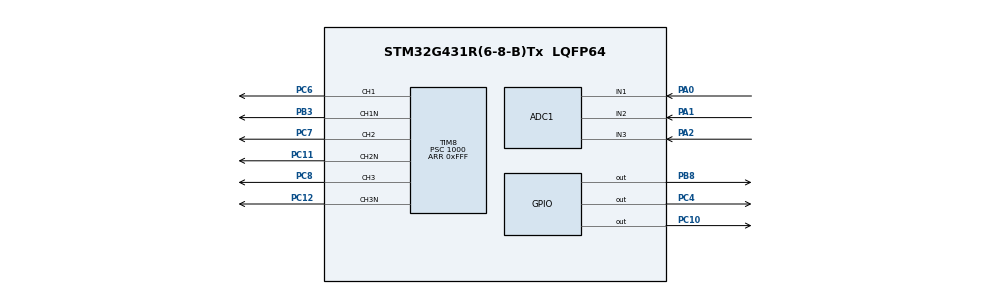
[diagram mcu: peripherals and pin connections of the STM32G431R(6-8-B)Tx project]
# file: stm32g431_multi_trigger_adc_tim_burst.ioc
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ADC1.Channel-0\#ChannelRegularConversion=ADC_CHANNEL_1
ADC1.Channel-1\#ChannelRegularConversion=ADC_CHANNEL_2
ADC1.Channel-2\#ChannelRegularConversion=ADC_CHANNEL_3
ADC1.DMAContinuousRequests=ENABLE
ADC1.EOCSelection=ADC_EOC_SINGLE_CONV
ADC1.ExternalTrigConv=ADC_EXTERNALTRIG_T8_TRGO2
ADC1.NbrOfConversion=3
ADC1.NbrOfConversionFlag=1
ADC1.OffsetNumber-0\#ChannelRegularConversion=ADC_OFFSET_NONE
ADC1.OffsetNumber-1\#ChannelRegularConversion=ADC_OFFSET_NONE
ADC1.OffsetNumber-2\#ChannelRegularConversion=ADC_OFFSET_NONE
ADC1.Rank-0\#ChannelRegularConversion=1
ADC1.Rank-1\#ChannelRegularConversion=2
ADC1.Rank-2\#ChannelRegularConversion=3
ADC1.SamplingTime-0\#ChannelRegularConversion=ADC_SAMPLETIME_2CYCLES_5
ADC1.SamplingTime-1\#ChannelRegularConversion=ADC_SAMPLETIME_2CYCLES_5
ADC1.SamplingTime-2\#ChannelRegularConversion=ADC_SAMPLETIME_2CYCLES_5
ADC1.master=1
Dma.ADC1.0.Direction=DMA_PERIPH_TO_MEMORY
Dma.ADC1.0.EventEnable=DISABLE
Dma.ADC1.0.Instance=DMA1_Channel2
Dma.ADC1.0.MemDataAlignment=DMA_MDATAALIGN_HALFWORD
Dma.ADC1.0.MemInc=DMA_MINC_ENABLE
Dma.ADC1.0.Mode=DMA_CIRCULAR
Dma.ADC1.0.PeriphDataAlignment=DMA_PDATAALIGN_HALFWORD
Dma.ADC1.0.PeriphInc=DMA_PINC_DISABLE
Dma.ADC1.0.Polarity=HAL_DMAMUX_REQ_GEN_RISING
Dma.ADC1.0.Priority=DMA_PRIORITY_LOW
Dma.ADC1.0.RequestNumber=1
Dma.ADC1.0.SignalID=NONE
Dma.ADC1.0.SyncEnable=DISABLE
Dma.ADC1.0.SyncPolarity=HAL_DMAMUX_SYNC_NO_EVENT
Dma.ADC1.0.SyncRequestNumber=1
Dma.ADC1.0.SyncSignalID=NONE
Dma.Request0=ADC1
Dma.Request1=TIM8_UP
Dma.TIM8_UP.1.Direction=DMA_MEMORY_TO_PERIPH
Dma.TIM8_UP.1.EventEnable=DISABLE
Dma.TIM8_UP.1.Instance=DMA1_Channel1
Dma.TIM8_UP.1.MemDataAlignment=DMA_MDATAALIGN_WORD
Dma.TIM8_UP.1.MemInc=DMA_MINC_ENABLE
Dma.TIM8_UP.1.Mode=DMA_CIRCULAR
Dma.TIM8_UP.1.PeriphDataAlignment=DMA_PDATAALIGN_WORD
Dma.TIM8_UP.1.PeriphInc=DMA_PINC_DISABLE
Dma.TIM8_UP.1.Polarity=HAL_DMAMUX_REQ_GEN_RISING
Dma.TIM8_UP.1.Priority=DMA_PRIORITY_HIGH
Dma.TIM8_UP.1.RequestNumber=1
Dma.TIM8_UP.1.SignalID=NONE
Dma.TIM8_UP.1.SyncEnable=DISABLE
Dma.TIM8_UP.1.SyncPolarity=HAL_DMAMUX_SYNC_NO_EVENT
Dma.TIM8_UP.1.SyncRequestNumber=1
Dma.TIM8_UP.1.SyncSignalID=NONE
Mcu.Family=STM32G4
Mcu.Name=STM32G431R(6-8-B)Tx
Mcu.Package=LQFP64
NVIC.DMA1_Channel1_IRQn=true\:1\:0\:true\:false\:true\:false\:true
NVIC.DMA1_Channel2_IRQn=true\:1\:0\:true\:false\:true\:false\:true
NVIC.PriorityGroup=NVIC_PRIORITYGROUP_4
NVIC.TIM8_UP_IRQn=true\:2\:0\:true\:false\:true\:true\:true
PA0.Mode=IN1-Single-Ended
PA0.Signal=ADC1_IN1
PA1.Mode=IN2-Single-Ended
PA1.Signal=ADC1_IN2
PA2.Mode=IN3-Single-Ended
PA2.Signal=ADC1_IN3
PB3.Mode=PWM Generation1 CH1 CH1N
PB3.Signal=TIM8_CH1N
PB8-BOOT0.Signal=GPIO_Output
PC10.Signal=GPIO_Output
PC11.Mode=PWM Generation2 CH2 CH2N
PC11.Signal=TIM8_CH2N
PC12.Mode=PWM Generation3 CH3 CH3N
PC12.Signal=TIM8_CH3N
PC3.Signal=TIM1_BKIN2
PC4.Signal=GPIO_Output
PC6.Signal=S_TIM8_CH1
PC7.Signal=S_TIM8_CH2
PC8.Signal=S_TIM8_CH3
PF0-OSC_IN.Mode=HSE-External-Oscillator
PF0-OSC_IN.Signal=RCC_OSC_IN
PF1-OSC_OUT.Mode=HSE-External-Oscillator
PF1-OSC_OUT.Signal=RCC_OSC_OUT
ProjectManager.HeapSize=0x200
ProjectManager.StackSize=0x400
ProjectManager.TargetToolchain=MDK-ARM V5
RCC.ADC12CLockSelection=RCC_ADC12CLKSOURCE_PLL
RCC.ADC12Freq_Value=48571428.571428575
RCC.AHBFreq_Value=170000000
RCC.APB1Freq_Value=170000000
RCC.APB1TimFreq_Value=170000000
RCC.APB2Freq_Value=170000000
RCC.APB2TimFreq_Value=170000000
RCC.CortexFreq_Value=170000000
RCC.EXTERNAL_CLOCK_VALUE=12288000
RCC.HCLKFreq_Value=170000000
RCC.HSE_VALUE=8000000
RCC.HSI48_VALUE=48000000
RCC.HSI_VALUE=16000000
RCC.LSE_VALUE=32768
RCC.PLLM=RCC_PLLM_DIV4
RCC.PLLN=85
RCC.PLLP=RCC_PLLP_DIV7
RCC.SYSCLKFreq_VALUE=170000000
RCC.SYSCLKSource=RCC_SYSCLKSOURCE_PLLCLK
RCC.USBFreq_Value=170000000
RCC.VCOOutputFreq_Value=340000000
SH.S_TIM8_CH1.0=TIM8_CH1,PWM Generation1 CH1 CH1N
SH.S_TIM8_CH2.0=TIM8_CH2,PWM Generation2 CH2 CH2N
SH.S_TIM8_CH3.0=TIM8_CH3,PWM Generation3 CH3 CH3N
TIM8.Channel-PWM\ Generation1\ CH1\ CH1N=TIM_CHANNEL_1
TIM8.Channel-PWM\ Generation2\ CH2\ CH2N=TIM_CHANNEL_2
TIM8.Channel-PWM\ Generation3\ CH3\ CH3N=TIM_CHANNEL_3
TIM8.Channel-PWM\ Generation4\ No\ Output=TIM_CHANNEL_4
TIM8.Channel-PWM\ Generation5\ No\ Output=TIM_CHANNEL_5
TIM8.Channel-PWM\ Generation6\ No\ Output=TIM_CHANNEL_6
TIM8.CounterMode=TIM_COUNTERMODE_CENTERALIGNED1
TIM8.OC1Preload_PWM=DISABLE
TIM8.OC2Preload_PWM=DISABLE
TIM8.OC3Preload_PWM=DISABLE
TIM8.OC4Preload_PWM=DISABLE
TIM8.OC5Preload_PWM=DISABLE
TIM8.OC6Preload_PWM=DISABLE
TIM8.OCMode_PWM-PWM\ Generation4\ No\ Output=TIM_OCMODE_PWM2
TIM8.OCMode_PWM-PWM\ Generation6\ No\ Output=TIM_OCMODE_PWM2
TIM8.PeriodNoDither=0xFFF
TIM8.Prescaler=1000
TIM8.PulseNoDither_1=250
TIM8.PulseNoDither_2=500
TIM8.PulseNoDither_3=750
TIM8.PulseNoDither_4=500
TIM8.PulseNoDither_5=500
TIM8.PulseNoDither_6=750
TIM8.TIM_MasterOutputTrigger2=TIM_TRGO2_UPDATE
VP_SYS_VS_DBSignals.Mode=DisableDeadBatterySignals
VP_TIM8_VS_ClockSourceINT.Mode=Internal
VP_TIM8_VS_no_output4.Mode=PWM Generation4 No Output
VP_TIM8_VS_no_output5.Mode=PWM Generation5 No Output
VP_TIM8_VS_no_output6.Mode=PWM Generation6 No Output
board=custom

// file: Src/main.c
/* USER CODE BEGIN Header */
/**
  ******************************************************************************
  * @file           : main.c
  * @brief          : Main program body
  ******************************************************************************
  * @attention
  *
  * <h2><center>&copy; Copyright (c) 2020 STMicroelectronics.
  * All rights reserved.</center></h2>
  *
  * This software component is licensed by ST under BSD 3-Clause license,
  * the "License"; You may not use this file except in compliance with the
  * License. You may obtain a copy of the License at:
  *                        opensource.org/licenses/BSD-3-Clause
  *
  ******************************************************************************
  */
/* USER CODE END Header */

#include "main.h"
#include "adc.h"
#include "dma.h"
#include "tim.h"
#include "gpio.h"

void SystemClock_Config(void);
/* USER CODE BEGIN PFP */
void Initialize_ADC(void);
void Initialize_DMA_ADC(void);
void Initialize_TIM8(void);
void Initialize_DMA_TIM8(void);
/* USER CODE END PFP */

/* USER CODE BEGIN 0 */
__IO uint16_t aADCxConvertedData[ADC_CONVERTED_DATA_BUFFER_SIZE];             /* ADC group regular conversion data */
__IO uint16_t aADCxConvertedDataB[ADC_CONVERTED_DATA_BUFFER_SIZE];             /* ADC group regular conversion data */

uint32_t tim_burst[TIM_BURST_COUNT]={0x100, 0x200, 0x300, 0x300, 0x200, 0x100};
uint32_t tim_burst_update[TIM_BURST_COUNT]={0x110, 0x210, 0x310, 0x320, 0x220, 0x120};
/* USER CODE END 0 */

int main(void)
{

  /* MCU Configuration--------------------------------------------------------*/

  /* Reset of all peripherals, Initializes the Flash interface and the Systick. */

  LL_APB2_GRP1_EnableClock(LL_APB2_GRP1_PERIPH_SYSCFG);
  LL_APB1_GRP1_EnableClock(LL_APB1_GRP1_PERIPH_PWR);

  NVIC_SetPriorityGrouping(NVIC_PRIORITYGROUP_4);

  /* System interrupt init*/

  /** Disable the internal Pull-Up in Dead Battery pins of UCPD peripheral
  */
  LL_PWR_DisableDeadBatteryPD();

  /* Configure the system clock */
  SystemClock_Config();

  /* Initialize all configured peripherals */
  MX_GPIO_Init();
  MX_DMA_Init();
  MX_ADC1_Init();
  MX_TIM8_Init();
  /* USER CODE BEGIN 2 */
	LL_DBGMCU_APB2_GRP1_UnFreezePeriph(LL_DBGMCU_APB2_GRP1_TIM8_STOP);

	Initialize_DMA_ADC();
	Initialize_ADC();
	Initialize_DMA_TIM8();
	Initialize_TIM8();
  /* USER CODE END 2 */

  /* Infinite loop */
  while (1)
  {

  }
}

void SystemClock_Config(void)
{
  LL_FLASH_SetLatency(LL_FLASH_LATENCY_8);
  LL_PWR_EnableRange1BoostMode();
  LL_RCC_HSI_Enable();

   /* Wait till HSI is ready */
  while(LL_RCC_HSI_IsReady() != 1)
  {

  }
  LL_RCC_HSI_SetCalibTrimming(64);
  LL_RCC_PLL_ConfigDomain_SYS(LL_RCC_PLLSOURCE_HSI, LL_RCC_PLLM_DIV_4, 85, LL_RCC_PLLR_DIV_2);
  LL_RCC_PLL_ConfigDomain_ADC(LL_RCC_PLLSOURCE_HSI, LL_RCC_PLLM_DIV_4, 85, LL_RCC_PLLP_DIV_7);
  LL_RCC_PLL_EnableDomain_SYS();
  LL_RCC_PLL_EnableDomain_ADC();
  LL_RCC_PLL_Enable();

   /* Wait till PLL is ready */
  while(LL_RCC_PLL_IsReady() != 1)
  {

  }
  LL_RCC_SetSysClkSource(LL_RCC_SYS_CLKSOURCE_PLL);
  LL_RCC_SetAHBPrescaler(LL_RCC_SYSCLK_DIV_2);

   /* Wait till System clock is ready */
  while(LL_RCC_GetSysClkSource() != LL_RCC_SYS_CLKSOURCE_STATUS_PLL)
  {

  }
  /* Insure 1?s transition state at intermediate medium speed clock based on DWT */
  CoreDebug->DEMCR |= CoreDebug_DEMCR_TRCENA_Msk;
  DWT->CTRL |= DWT_CTRL_CYCCNTENA_Msk;
  DWT->CYCCNT = 0;
  while(DWT->CYCCNT < 100);
  /* Set AHB prescaler*/
  LL_RCC_SetAHBPrescaler(LL_RCC_SYSCLK_DIV_1);
  LL_RCC_SetAPB1Prescaler(LL_RCC_APB1_DIV_1);
  LL_RCC_SetAPB2Prescaler(LL_RCC_APB1_DIV_1);

  LL_Init1msTick(170000000);

  LL_SetSystemCoreClock(170000000);
  LL_RCC_SetADCClockSource(LL_RCC_ADC12_CLKSOURCE_PLL);
}

/* USER CODE BEGIN 4 */
#define ADC_DELAY_CALIB_ENABLE_CPU_CYCLES  (LL_ADC_DELAY_CALIB_ENABLE_ADC_CYCLES * 32)
void Initialize_ADC(void)
{
  __IO uint32_t wait_loop_index = 0U;
  #if (USE_TIMEOUT == 1)
  uint32_t Timeout = 0U; /* Variable used for timeout management */
  #endif /* USE_TIMEOUT */

  /*## Operation on ADC hierarchical scope: ADC instance #####################*/

  /* Note: Hardware constraint (refer to description of the functions         */
  /*       below):                                                            */
  /*       On this STM32 serie, setting of these features is conditioned to   */
  /*       ADC state:                                                         */
  /*       ADC must be disabled.                                              */
  /* Note: In this example, all these checks are not necessary but are        */
  /*       implemented anyway to show the best practice usages                */
  /*       corresponding to reference manual procedure.                       */
  /*       Software can be optimized by removing some of these checks, if     */
  /*       they are not relevant considering previous settings and actions    */
  /*       in user application.                                               */
  if (LL_ADC_IsEnabled(ADC1) == 0)
  {
    /* Disable ADC deep power down (enabled by default after reset state) */
    LL_ADC_DisableDeepPowerDown(ADC1);

    /* Enable ADC internal voltage regulator */
    LL_ADC_EnableInternalRegulator(ADC1);

    /* Delay for ADC internal voltage regulator stabilization.                */
    /* Compute number of CPU cycles to wait for, from delay in us.            */
    /* Note: Variable divided by 2 to compensate partially                    */
    /*       CPU processing cycles (depends on compilation optimization).     */
    /* Note: If system core clock frequency is below 200kHz, wait time        */
    /*       is only a few CPU processing cycles.                             */
    wait_loop_index = ((LL_ADC_DELAY_INTERNAL_REGUL_STAB_US * (SystemCoreClock / (100000 * 2))) / 10);
    while(wait_loop_index != 0)
    {
      wait_loop_index--;
    }

    /* Run ADC self calibration */
    LL_ADC_StartCalibration(ADC1, LL_ADC_SINGLE_ENDED);

    /* Poll for ADC effectively calibrated */
    #if (USE_TIMEOUT == 1)
    Timeout = ADC_CALIBRATION_TIMEOUT_MS;
    #endif /* USE_TIMEOUT */

    while (LL_ADC_IsCalibrationOnGoing(ADC1) != 0)
    {
    #if (USE_TIMEOUT == 1)
      /* Check Systick counter flag to decrement the time-out value */
      if (LL_SYSTICK_IsActiveCounterFlag())
      {
        if(Timeout-- == 0)
        {
        /* Time-out occurred. Set LED to blinking mode */
        LED_Blinking(LED_BLINK_ERROR);
        }
      }
    #endif /* USE_TIMEOUT */
    }

    /* Delay between ADC end of calibration and ADC enable.                   */
    /* Note: Variable divided by 2 to compensate partially                    */
    /*       CPU processing cycles (depends on compilation optimization).     */
    wait_loop_index = (ADC_DELAY_CALIB_ENABLE_CPU_CYCLES >> 1);
    while(wait_loop_index != 0)
    {
      wait_loop_index--;
    }

    /* Enable ADC */
    LL_ADC_Enable(ADC1);

    /* Poll for ADC ready to convert */
    #if (USE_TIMEOUT == 1)
    Timeout = ADC_ENABLE_TIMEOUT_MS;
    #endif /* USE_TIMEOUT */

    while (LL_ADC_IsActiveFlag_ADRDY(ADC1) == 0)
    {
    #if (USE_TIMEOUT == 1)
      /* Check Systick counter flag to decrement the time-out value */
      if (LL_SYSTICK_IsActiveCounterFlag())
      {
        if(Timeout-- == 0)
        {
        /* Time-out occurred. Set LED to blinking mode */
        LED_Blinking(LED_BLINK_ERROR);
        }
      }
    #endif /* USE_TIMEOUT */
    }

    /* Note: ADC flag ADRDY is not cleared here to be able to check ADC       */
    /*       status afterwards.                                               */
    /*       This flag should be cleared at ADC Deactivation, before a new    */
    /*       ADC activation, using function "LL_ADC_ClearFlag_ADRDY()".       */
  }

  /*## Operation on ADC hierarchical scope: ADC group regular ################*/
  /* Note: No operation on ADC group regular performed here.                  */
  /*       ADC group regular conversions to be performed after this function  */
  /*       using function:                                                    */
  /*       "LL_ADC_REG_StartConversion();"                                    */

  /*## Operation on ADC hierarchical scope: ADC group injected ###############*/
  /* Note: No operation on ADC group injected performed here.                 */
  /*       ADC group injected conversions to be performed after this function */
  /*       using function:                                                    */
  /*       "LL_ADC_INJ_StartConversion();"                                    */

	if ((LL_ADC_IsEnabled(ADC1) == 1) &&(LL_ADC_IsDisableOngoing(ADC1) == 0)&&(LL_ADC_REG_IsConversionOngoing(ADC1) == 0))
  {
    LL_ADC_REG_StartConversion(ADC1);
	}
}

void Initialize_DMA_ADC(void)
{
  /* Select ADC as DMA transfer request */
  LL_DMA_SetPeriphRequest(DMA1,  LL_DMA_CHANNEL_2, LL_DMAMUX_REQ_ADC1);

  /* Set DMA transfer addresses of source and destination */
  LL_DMA_ConfigAddresses(DMA1,
                         LL_DMA_CHANNEL_2,
                         LL_ADC_DMA_GetRegAddr(ADC1, LL_ADC_DMA_REG_REGULAR_DATA),
                         (uint32_t)&aADCxConvertedData,
                         LL_DMA_DIRECTION_PERIPH_TO_MEMORY);

  /* Set DMA transfer size */
  LL_DMA_SetDataLength(DMA1, LL_DMA_CHANNEL_2, ADC_CONVERTED_DATA_BUFFER_SIZE);

  /* Enable DMA transfer interruption: transfer complete */
  LL_DMA_EnableIT_TC(DMA1, LL_DMA_CHANNEL_2);

  /* Enable DMA transfer interruption: half transfer */
  //LL_DMA_EnableIT_HT(DMA1, LL_DMA_CHANNEL_2);

  /* Enable DMA transfer interruption: transfer error */
  LL_DMA_EnableIT_TE(DMA1, LL_DMA_CHANNEL_2);

  /*## Activation of DMA #####################################################*/
  /* Enable the DMA transfer */
  LL_DMA_EnableChannel(DMA1, LL_DMA_CHANNEL_2);
}

void Initialize_TIM8(void)
{
		LL_TIM_CC_EnableChannel(TIM8, LL_TIM_CHANNEL_CH1  |
															LL_TIM_CHANNEL_CH1N |
															LL_TIM_CHANNEL_CH2  |
															LL_TIM_CHANNEL_CH2N |
															LL_TIM_CHANNEL_CH3  |
															LL_TIM_CHANNEL_CH3N |
															LL_TIM_CHANNEL_CH4 |
															LL_TIM_CHANNEL_CH5 |
															LL_TIM_CHANNEL_CH6
															);
	LL_TIM_ConfigDMABurst(TIM8, LL_TIM_DMABURST_BASEADDR_CCR1, LL_TIM_DMABURST_LENGTH_3TRANSFERS);
  LL_TIM_ClearFlag_UPDATE(TIM8);
  LL_TIM_EnableIT_UPDATE(TIM8);
  LL_TIM_EnableAutomaticOutput(TIM8);
	LL_TIM_SetCounter(TIM8, 0xFFF);
  LL_TIM_EnableCounter(TIM8);
}

void Initialize_DMA_TIM8(void)
{
  LL_DMA_DisableChannel(DMA1, LL_DMA_CHANNEL_1);
  LL_DMA_ConfigAddresses(DMA1, LL_DMA_CHANNEL_1, (uint32_t)&tim_burst[0], (uint32_t)&TIM8->DMAR, LL_DMA_GetDataTransferDirection(DMA1, LL_DMA_CHANNEL_1));
  LL_DMA_SetDataLength(DMA1, LL_DMA_CHANNEL_1, TIM_BURST_COUNT);
  LL_DMA_EnableIT_TC(DMA1, LL_DMA_CHANNEL_1);
  LL_DMA_EnableIT_TE(DMA1, LL_DMA_CHANNEL_1);

	LL_TIM_EnableDMAReq_UPDATE(TIM8);

  /***************************/
  /* Enable the DMA transfer */
  /***************************/
  LL_DMA_EnableChannel(DMA1, LL_DMA_CHANNEL_1);
}
/* USER CODE END 4 */

void Error_Handler(void)
{
}

/************************ (C) COPYRIGHT STMicroelectronics *****END OF FILE****/
